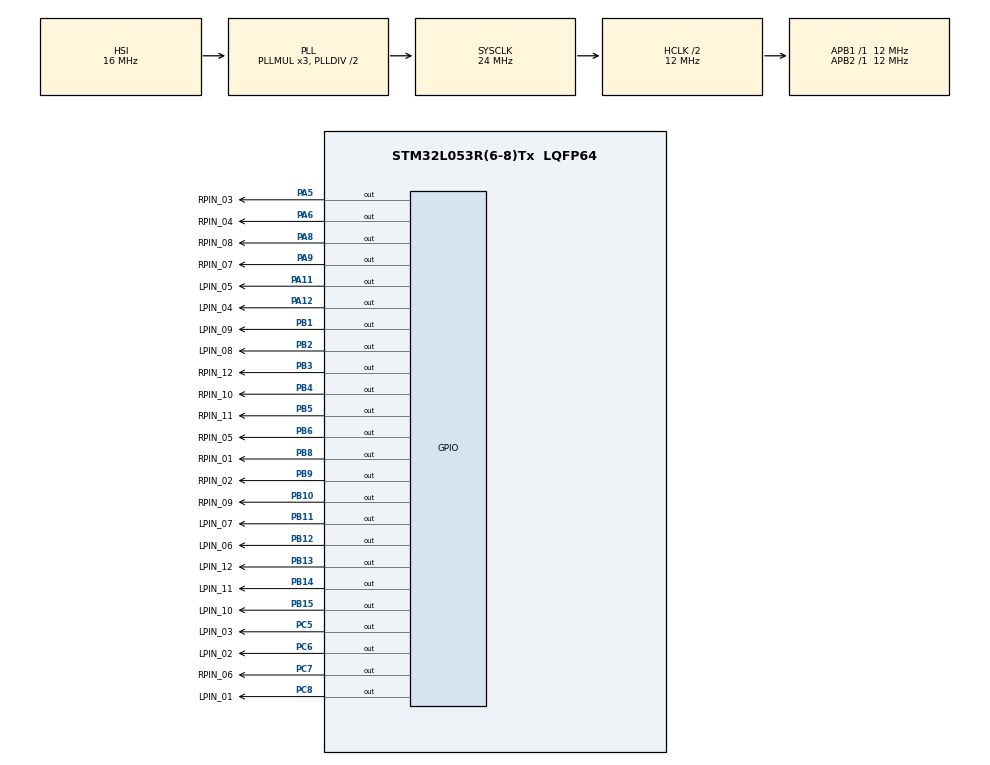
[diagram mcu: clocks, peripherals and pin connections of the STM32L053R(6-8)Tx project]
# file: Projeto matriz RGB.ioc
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Mcu.Family=STM32L0
Mcu.Name=STM32L053R(6-8)Tx
Mcu.Package=LQFP64
NVIC.TIM6_DAC_IRQn=true\:0\:0\:false\:false\:true\:true\:true\:true
PA11.GPIO_Label=LPIN_05
PA11.Signal=GPIO_Output
PA12.GPIO_Label=LPIN_04
PA12.Signal=GPIO_Output
PA5.GPIO_Label=RPIN_03
PA5.Signal=GPIO_Output
PA6.GPIO_Label=RPIN_04
PA6.Signal=GPIO_Output
PA8.GPIO_Label=RPIN_08
PA8.Signal=GPIO_Output
PA9.GPIO_Label=RPIN_07
PA9.Signal=GPIO_Output
PB1.GPIO_Label=LPIN_09
PB1.Signal=GPIO_Output
PB10.GPIO_Label=RPIN_09
PB10.Signal=GPIO_Output
PB11.GPIO_Label=LPIN_07
PB11.Signal=GPIO_Output
PB12.GPIO_Label=LPIN_06
PB12.Signal=GPIO_Output
PB13.GPIO_Label=LPIN_12
PB13.Signal=GPIO_Output
PB14.GPIO_Label=LPIN_11
PB14.Signal=GPIO_Output
PB15.GPIO_Label=LPIN_10
PB15.Signal=GPIO_Output
PB2.GPIO_Label=LPIN_08
PB2.Signal=GPIO_Output
PB3.GPIO_Label=RPIN_12
PB3.Signal=GPIO_Output
PB4.GPIO_Label=RPIN_10
PB4.Signal=GPIO_Output
PB5.GPIO_Label=RPIN_11
PB5.Signal=GPIO_Output
PB6.GPIO_Label=RPIN_05
PB6.Signal=GPIO_Output
PB8.GPIO_Label=RPIN_01
PB8.Signal=GPIO_Output
PB9.GPIO_Label=RPIN_02
PB9.Signal=GPIO_Output
PC5.GPIO_Label=LPIN_03
PC5.Signal=GPIO_Output
PC6.GPIO_Label=LPIN_02
PC6.Signal=GPIO_Output
PC7.GPIO_Label=RPIN_06
PC7.Signal=GPIO_Output
PC8.GPIO_Label=LPIN_01
PC8.Signal=GPIO_Output
ProjectManager.HeapSize=0x200
ProjectManager.StackSize=0x400
ProjectManager.TargetToolchain=STM32CubeIDE
RCC.AHBCLKDivider=RCC_SYSCLK_DIV2
RCC.AHBFreq_Value=12000000
RCC.APB1Freq_Value=12000000
RCC.APB1TimFreq_Value=12000000
RCC.APB2Freq_Value=12000000
RCC.APB2TimFreq_Value=12000000
RCC.HCLKFreq_Value=12000000
RCC.HSE_VALUE=8000000
RCC.HSI16_VALUE=16000000
RCC.HSI48_VALUE=48000000
RCC.HSI_VALUE=16000000
RCC.MSI_VALUE=2097000
RCC.SYSCLKFreq_VALUE=24000000
RCC.SYSCLKSource=RCC_SYSCLKSOURCE_PLLCLK
RCC.VCOOutputFreq_Value=48000000
TIM6.Period=1000-1
TIM6.Prescaler=12000-1
VP_TIM6_VS_ClockSourceINT.Mode=Enable_Timer
board=NUCLEO-L053R8

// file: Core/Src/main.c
/* USER CODE BEGIN Header */
/**
  ******************************************************************************
  * @file           : main.c
  * @brief          : Main program body
  ******************************************************************************
  * @attention
  *
  * Copyright (c) 2025 STMicroelectronics.
  * All rights reserved.
  *
  * This software is licensed under terms that can be found in the LICENSE file
  * in the root directory of this software component.
  * If no LICENSE file comes with this software, it is provided AS-IS.
  *
  ******************************************************************************
  */
/* USER CODE END Header */
#include "main.h"

TIM_HandleTypeDef htim6;

void SystemClock_Config(void);
static void MX_GPIO_Init(void);
static void MX_TIM6_Init(void);
/* USER CODE BEGIN PFP */
void Twist_state(void);
/* USER CODE END PFP */

int main(void)
{

  /* MCU Configuration--------------------------------------------------------*/

  /* Reset of all peripherals, Initializes the Flash interface and the Systick. */
  HAL_Init();

  /* Configure the system clock */
  SystemClock_Config();

  /* Initialize all configured peripherals */
  MX_GPIO_Init();
  MX_TIM6_Init();
  /* USER CODE BEGIN 2 */

  HAL_TIM_Base_Start_IT(&htim6);

  /* USER CODE END 2 */

  /* Infinite loop */
  while (1) {

  }
}

void SystemClock_Config(void)
{
  RCC_OscInitTypeDef RCC_OscInitStruct = {0};
  RCC_ClkInitTypeDef RCC_ClkInitStruct = {0};

  /** Configure the main internal regulator output voltage
  */
  __HAL_PWR_VOLTAGESCALING_CONFIG(PWR_REGULATOR_VOLTAGE_SCALE1);

  /** Initializes the RCC Oscillators according to the specified parameters
  * in the RCC_OscInitTypeDef structure.
  */
  RCC_OscInitStruct.OscillatorType = RCC_OSCILLATORTYPE_HSI;
  RCC_OscInitStruct.HSIState = RCC_HSI_ON;
  RCC_OscInitStruct.HSICalibrationValue = RCC_HSICALIBRATION_DEFAULT;
  RCC_OscInitStruct.PLL.PLLState = RCC_PLL_ON;
  RCC_OscInitStruct.PLL.PLLSource = RCC_PLLSOURCE_HSI;
  RCC_OscInitStruct.PLL.PLLMUL = RCC_PLLMUL_3;
  RCC_OscInitStruct.PLL.PLLDIV = RCC_PLLDIV_2;
  if (HAL_RCC_OscConfig(&RCC_OscInitStruct) != HAL_OK)
  {
    Error_Handler();
  }

  /** Initializes the CPU, AHB and APB buses clocks
  */
  RCC_ClkInitStruct.ClockType = RCC_CLOCKTYPE_HCLK|RCC_CLOCKTYPE_SYSCLK
                              |RCC_CLOCKTYPE_PCLK1|RCC_CLOCKTYPE_PCLK2;
  RCC_ClkInitStruct.SYSCLKSource = RCC_SYSCLKSOURCE_PLLCLK;
  RCC_ClkInitStruct.AHBCLKDivider = RCC_SYSCLK_DIV2;
  RCC_ClkInitStruct.APB1CLKDivider = RCC_HCLK_DIV1;
  RCC_ClkInitStruct.APB2CLKDivider = RCC_HCLK_DIV1;

  if (HAL_RCC_ClockConfig(&RCC_ClkInitStruct, FLASH_LATENCY_0) != HAL_OK)
  {
    Error_Handler();
  }
}

static void MX_TIM6_Init(void)
{

  TIM_MasterConfigTypeDef sMasterConfig = {0};

  htim6.Instance = TIM6;
  htim6.Init.Prescaler = 12000-1;
  htim6.Init.CounterMode = TIM_COUNTERMODE_UP;
  htim6.Init.Period = 1000-1;
  htim6.Init.AutoReloadPreload = TIM_AUTORELOAD_PRELOAD_DISABLE;
  if (HAL_TIM_Base_Init(&htim6) != HAL_OK)
  {
    Error_Handler();
  }
  sMasterConfig.MasterOutputTrigger = TIM_TRGO_RESET;
  sMasterConfig.MasterSlaveMode = TIM_MASTERSLAVEMODE_DISABLE;
  if (HAL_TIMEx_MasterConfigSynchronization(&htim6, &sMasterConfig) != HAL_OK)
  {
    Error_Handler();
  }

}

static void MX_GPIO_Init(void)
{
  GPIO_InitTypeDef GPIO_InitStruct = {0};

  /* GPIO Ports Clock Enable */
  __HAL_RCC_GPIOA_CLK_ENABLE();
  __HAL_RCC_GPIOC_CLK_ENABLE();
  __HAL_RCC_GPIOB_CLK_ENABLE();

  /*Configure GPIO pin Output Level */
  HAL_GPIO_WritePin(GPIOA, RPIN_03_Pin|RPIN_04_Pin|RPIN_08_Pin|RPIN_07_Pin
                          |LPIN_05_Pin|LPIN_04_Pin, GPIO_PIN_RESET);

  /*Configure GPIO pin Output Level */
  HAL_GPIO_WritePin(GPIOC, LPIN_03_Pin|LPIN_02_Pin|RPIN_06_Pin|LPIN_01_Pin, GPIO_PIN_RESET);

  /*Configure GPIO pin Output Level */
  HAL_GPIO_WritePin(GPIOB, LPIN_09_Pin|LPIN_08_Pin|RPIN_09_Pin|LPIN_07_Pin
                          |LPIN_06_Pin|LPIN_12_Pin|LPIN_11_Pin|LPIN_10_Pin
                          |RPIN_12_Pin|RPIN_10_Pin|RPIN_11_Pin|RPIN_05_Pin
                          |RPIN_01_Pin|RPIN_02_Pin, GPIO_PIN_RESET);

  /*Configure GPIO pins : RPIN_03_Pin RPIN_04_Pin RPIN_08_Pin RPIN_07_Pin
                           LPIN_05_Pin LPIN_04_Pin */
  GPIO_InitStruct.Pin = RPIN_03_Pin|RPIN_04_Pin|RPIN_08_Pin|RPIN_07_Pin
                          |LPIN_05_Pin|LPIN_04_Pin;
  GPIO_InitStruct.Mode = GPIO_MODE_OUTPUT_PP;
  GPIO_InitStruct.Pull = GPIO_NOPULL;
  GPIO_InitStruct.Speed = GPIO_SPEED_FREQ_LOW;
  HAL_GPIO_Init(GPIOA, &GPIO_InitStruct);

  /*Configure GPIO pins : LPIN_03_Pin LPIN_02_Pin RPIN_06_Pin LPIN_01_Pin */
  GPIO_InitStruct.Pin = LPIN_03_Pin|LPIN_02_Pin|RPIN_06_Pin|LPIN_01_Pin;
  GPIO_InitStruct.Mode = GPIO_MODE_OUTPUT_PP;
  GPIO_InitStruct.Pull = GPIO_NOPULL;
  GPIO_InitStruct.Speed = GPIO_SPEED_FREQ_LOW;
  HAL_GPIO_Init(GPIOC, &GPIO_InitStruct);

  /*Configure GPIO pins : LPIN_09_Pin LPIN_08_Pin RPIN_09_Pin LPIN_07_Pin
                           LPIN_06_Pin LPIN_12_Pin LPIN_11_Pin LPIN_10_Pin
                           RPIN_12_Pin RPIN_10_Pin RPIN_11_Pin RPIN_05_Pin
                           RPIN_01_Pin RPIN_02_Pin */
  GPIO_InitStruct.Pin = LPIN_09_Pin|LPIN_08_Pin|RPIN_09_Pin|LPIN_07_Pin
                          |LPIN_06_Pin|LPIN_12_Pin|LPIN_11_Pin|LPIN_10_Pin
                          |RPIN_12_Pin|RPIN_10_Pin|RPIN_11_Pin|RPIN_05_Pin
                          |RPIN_01_Pin|RPIN_02_Pin;
  GPIO_InitStruct.Mode = GPIO_MODE_OUTPUT_PP;
  GPIO_InitStruct.Pull = GPIO_NOPULL;
  GPIO_InitStruct.Speed = GPIO_SPEED_FREQ_LOW;
  HAL_GPIO_Init(GPIOB, &GPIO_InitStruct);

}

/* USER CODE BEGIN 4 */
void HAL_TIM_PeriodElapsedCallback(TIM_HandleTypeDef *htim){
	Twist_state();
}

void Twist_state(void){
	  // Active all LEDs of columns
	  HAL_GPIO_WritePin(RPIN_01_GPIO_Port, RPIN_01_Pin, 1);
	  HAL_GPIO_WritePin(RPIN_04_GPIO_Port, RPIN_04_Pin, 1);
	  HAL_GPIO_WritePin(RPIN_07_GPIO_Port, RPIN_07_Pin, 1);
	  HAL_GPIO_WritePin(RPIN_10_GPIO_Port, RPIN_10_Pin, 1);
	  HAL_GPIO_WritePin(LPIN_01_GPIO_Port, LPIN_01_Pin, 1);
	  HAL_GPIO_WritePin(LPIN_04_GPIO_Port, LPIN_04_Pin, 1);
	  HAL_GPIO_WritePin(LPIN_07_GPIO_Port, LPIN_07_Pin, 1);
	  HAL_GPIO_WritePin(LPIN_10_GPIO_Port, LPIN_10_Pin, 1);

	  /////////////////////////////////////////////////////

	  HAL_GPIO_WritePin(RPIN_02_GPIO_Port, RPIN_02_Pin, 0);
	  HAL_GPIO_WritePin(RPIN_03_GPIO_Port, RPIN_03_Pin, 0);
	  HAL_GPIO_WritePin(RPIN_05_GPIO_Port, RPIN_05_Pin, 0);
	  HAL_GPIO_WritePin(RPIN_06_GPIO_Port, RPIN_06_Pin, 0);
	  HAL_GPIO_WritePin(RPIN_08_GPIO_Port, RPIN_08_Pin, 0);
	  HAL_GPIO_WritePin(RPIN_09_GPIO_Port, RPIN_09_Pin, 0);
	  HAL_GPIO_WritePin(RPIN_11_GPIO_Port, RPIN_11_Pin, 0);
	  HAL_GPIO_WritePin(RPIN_12_GPIO_Port, RPIN_12_Pin, 0);

	  HAL_GPIO_WritePin(LPIN_02_GPIO_Port, LPIN_02_Pin, 0);
	  HAL_GPIO_WritePin(LPIN_03_GPIO_Port, LPIN_03_Pin, 0);
	  HAL_GPIO_WritePin(LPIN_05_GPIO_Port, LPIN_05_Pin, 0);
	  HAL_GPIO_WritePin(LPIN_06_GPIO_Port, LPIN_06_Pin, 0);
	  HAL_GPIO_WritePin(LPIN_08_GPIO_Port, LPIN_08_Pin, 0);
	  HAL_GPIO_WritePin(LPIN_09_GPIO_Port, LPIN_09_Pin, 0);
	  HAL_GPIO_WritePin(LPIN_11_GPIO_Port, LPIN_11_Pin, 0);
	  HAL_GPIO_WritePin(LPIN_12_GPIO_Port, LPIN_12_Pin, 0);
}

/* USER CODE END 4 */

void Error_Handler(void)
{
  __disable_irq();
  while (1)
  {
  }
}
